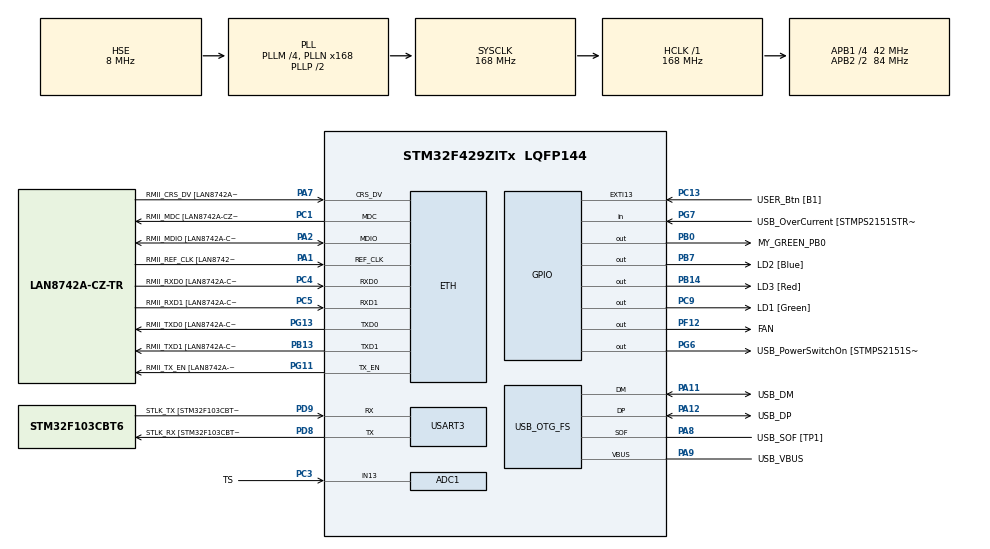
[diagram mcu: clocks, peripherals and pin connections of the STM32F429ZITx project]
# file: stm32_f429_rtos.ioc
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ADC1.Channel-0\#ChannelRegularConversion=ADC_CHANNEL_13
ADC1.NbrOfConversionFlag=1
ADC1.Rank-0\#ChannelRegularConversion=1
ADC1.SamplingTime-0\#ChannelRegularConversion=ADC_SAMPLETIME_3CYCLES
ADC1.master=1
ETH.MediaInterface=ETH_MEDIA_INTERFACE_RMII
ETH.PHY_Name=LAN8742A_PHY_ADDRESS
ETH.PHY_Value=0
ETH.PhyAddress=0
FREERTOS.Tasks01=fanTask,0,19000,fanTaskFunction,Default,NULL,Dynamic,NULL,NULL;tempSensorTask,-3,2500,tempSensorTaskFunction,Default,NULL,Dynamic,NULL,NULL;tempControlTask,-3,2500,tempControlTaskFunction,Default,NULL,Dynamic,NULL,NULL
FREERTOS.configTOTAL_HEAP_SIZE=97000
Mcu.Family=STM32F4
Mcu.Name=STM32F429ZITx
Mcu.Package=LQFP144
NVIC.PriorityGroup=NVIC_PRIORITYGROUP_4
NVIC.TIM1_UP_TIM10_IRQn=true\:0\:0\:false\:false\:true\:false\:false
NVIC.TimeBase=TIM1_UP_TIM10_IRQn
NVIC.TimeBaseIP=TIM1
PA0/WKUP.Mode=SYS_WakeUp0
PA0/WKUP.Signal=SYS_WKUP
PA1.GPIO_Label=RMII_REF_CLK [LAN8742A-CZ-TR_REFCLK0]
PA1.Mode=RMII
PA1.Signal=ETH_REF_CLK
PA10.GPIO_Label=USB_ID
PA10.Signal=USB_OTG_FS_ID
PA11.GPIO_Label=USB_DM
PA11.Mode=Device_Only
PA11.Signal=USB_OTG_FS_DM
PA12.GPIO_Label=USB_DP
PA12.Mode=Device_Only
PA12.Signal=USB_OTG_FS_DP
PA13.GPIO_Label=TMS
PA13.Mode=Serial_Wire
PA13.Signal=SYS_JTMS-SWDIO
PA14.GPIO_Label=TCK
PA14.Mode=Serial_Wire
PA14.Signal=SYS_JTCK-SWCLK
PA2.GPIO_Label=RMII_MDIO [LAN8742A-CZ-TR_MDIO]
PA2.Mode=RMII
PA2.Signal=ETH_MDIO
PA7.GPIO_Label=RMII_CRS_DV [LAN8742A-CZ-TR_CRS_DV]
PA7.Mode=RMII
PA7.Signal=ETH_CRS_DV
PA8.GPIO_Label=USB_SOF [TP1]
PA8.Mode=Activate_SOF_FS
PA8.Signal=USB_OTG_FS_SOF
PA9.GPIO_Label=USB_VBUS
PA9.Mode=Activate_VBUS
PA9.Signal=USB_OTG_FS_VBUS
PB0.GPIO_Label=MY_GREEN_PB0
PB0.Signal=GPIO_Output
PB13.GPIO_Label=RMII_TXD1 [LAN8742A-CZ-TR_TXD1]
PB13.Mode=RMII
PB13.Signal=ETH_TXD1
PB14.GPIO_Label=LD3 [Red]
PB14.Signal=GPIO_Output
PB7.GPIO_Label=LD2 [Blue]
PB7.Signal=GPIO_Output
PC1.GPIO_Label=RMII_MDC [LAN8742A-CZ-TR_MDC]
PC1.Mode=RMII
PC1.Signal=ETH_MDC
PC13.GPIO_Label=USER_Btn [B1]
PC13.Signal=GPXTI13
PC14/OSC32_IN.Mode=LSE-External-Oscillator
PC14/OSC32_IN.Signal=RCC_OSC32_IN
PC15/OSC32_OUT.Mode=LSE-External-Oscillator
PC15/OSC32_OUT.Signal=RCC_OSC32_OUT
PC3.GPIO_Label=TS
PC3.Signal=SharedAnalog_PC3
PC4.GPIO_Label=RMII_RXD0 [LAN8742A-CZ-TR_RXD0]
PC4.Mode=RMII
PC4.Signal=ETH_RXD0
PC5.GPIO_Label=RMII_RXD1 [LAN8742A-CZ-TR_RXD1]
PC5.Mode=RMII
PC5.Signal=ETH_RXD1
PC9.GPIO_Label=LD1 [Green]
PC9.Signal=GPIO_Output
PD8.GPIO_Label=STLK_RX [STM32F103CBT6_PA3]
PD8.Mode=Asynchronous
PD8.Signal=USART3_TX
PD9.GPIO_Label=STLK_TX [STM32F103CBT6_PA2]
PD9.Mode=Asynchronous
PD9.Signal=USART3_RX
PF12.GPIO_Label=FAN
PF12.Signal=GPIO_Output
PG11.GPIO_Label=RMII_TX_EN [LAN8742A-CZ-TR_TXEN]
PG11.Mode=RMII
PG11.Signal=ETH_TX_EN
PG13.GPIO_Label=RMII_TXD0 [LAN8742A-CZ-TR_TXD0]
PG13.Mode=RMII
PG13.Signal=ETH_TXD0
PG6.GPIO_Label=USB_PowerSwitchOn [STMPS2151STR_EN]
PG6.Signal=GPIO_Output
PG7.GPIO_Label=USB_OverCurrent [STMPS2151STR_FAULT]
PG7.Signal=GPIO_Input
PH0/OSC_IN.GPIO_Label=MCO [STM32F103CBT6_PA8]
PH0/OSC_IN.Mode=HSE-External-Clock-Source
PH0/OSC_IN.Signal=RCC_OSC_IN
PH1/OSC_OUT.Mode=HSE-External-Clock-Source
PH1/OSC_OUT.Signal=RCC_OSC_OUT
ProjectManager.HeapSize=0x200
ProjectManager.StackSize=0x400
ProjectManager.TargetToolchain=SW4STM32
RCC.48MHZClocksFreq_Value=48000000
RCC.AHBFreq_Value=168000000
RCC.APB1CLKDivider=RCC_HCLK_DIV4
RCC.APB1Freq_Value=42000000
RCC.APB1TimFreq_Value=84000000
RCC.APB2CLKDivider=RCC_HCLK_DIV2
RCC.APB2Freq_Value=84000000
RCC.APB2TimCLKDivider=2
RCC.APB2TimFreq_Value=168000000
RCC.CortexFreq_Value=168000000
RCC.HCLKFreq_Value=168000000
RCC.HSE_VALUE=8000000
RCC.HSI_VALUE=16000000
RCC.PLLM=4
RCC.PLLMUL=RCC_PLL_MUL9
RCC.PLLN=168
RCC.PLLQ=7
RCC.PRESCALERUSB=RCC_USBCLKSOURCE_PLL_DIV1_5
RCC.SYSCLKFreq_VALUE=168000000
RCC.SYSCLKSource=RCC_SYSCLKSOURCE_PLLCLK
RCC.SYSCLKSourceVirtual=RCC_SYSCLKSOURCE_PLLCLK
RCC.USBFreq_Value=48000000
RCC.VCOOutputFreq_Value=336000000
SH.SharedAnalog_PC3.0=GPIO_Analog
SH.SharedAnalog_PC3.1=ADC1_IN13,IN13
USART3.VirtualMode=VM_ASYNC
USB_OTG_FS.VirtualMode=Device_Only
VP_FREERTOS_VS_ENABLE.Mode=Enabled
VP_SYS_VS_tim1.Mode=TIM1
board=NUCLEO-F429ZI

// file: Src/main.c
/* USER CODE BEGIN Header */
/**
  ******************************************************************************
  * @file           : main.c
  * @brief          : Main program body
  ******************************************************************************
  * This notice applies to any and all portions of this file
  * that are not between comment pairs USER CODE BEGIN and
  * USER CODE END. Other portions of this file, whether
  * inserted by the user or by software development tools
  * are owned by their respective copyright owners.
  *
  * Copyright (c) 2019 STMicroelectronics International N.V.
  * All rights reserved.
  *
  * Redistribution and use in source and binary forms, with or without
  * modification, are permitted, provided that the following conditions are met:
  *
  * 1. Redistribution of source code must retain the above copyright notice,
  *    this list of conditions and the following disclaimer.
  * 2. Redistributions in binary form must reproduce the above copyright notice,
  *    this list of conditions and the following disclaimer in the documentation
  *    and/or other materials provided with the distribution.
  * 3. Neither the name of STMicroelectronics nor the names of other
  *    contributors to this software may be used to endorse or promote products
  *    derived from this software without specific written permission.
  * 4. This software, including modifications and/or derivative works of this
  *    software, must execute solely and exclusively on microcontroller or
  *    microprocessor devices manufactured by or for STMicroelectronics.
  * 5. Redistribution and use of this software other than as permitted under
  *    this license is void and will automatically terminate your rights under
  *    this license.
  *
  * THIS SOFTWARE IS PROVIDED BY STMICROELECTRONICS AND CONTRIBUTORS "AS IS"
  * AND ANY EXPRESS, IMPLIED OR STATUTORY WARRANTIES, INCLUDING, BUT NOT
  * LIMITED TO, THE IMPLIED WARRANTIES OF MERCHANTABILITY, FITNESS FOR A
  * PARTICULAR PURPOSE AND NON-INFRINGEMENT OF THIRD PARTY INTELLECTUAL PROPERTY
  * RIGHTS ARE DISCLAIMED TO THE FULLEST EXTENT PERMITTED BY LAW. IN NO EVENT
  * SHALL STMICROELECTRONICS OR CONTRIBUTORS BE LIABLE FOR ANY DIRECT, INDIRECT,
  * INCIDENTAL, SPECIAL, EXEMPLARY, OR CONSEQUENTIAL DAMAGES (INCLUDING, BUT NOT
  * LIMITED TO, PROCUREMENT OF SUBSTITUTE GOODS OR SERVICES; LOSS OF USE, DATA,
  * OR PROFITS; OR BUSINESS INTERRUPTION) HOWEVER CAUSED AND ON ANY THEORY OF
  * LIABILITY, WHETHER IN CONTRACT, STRICT LIABILITY, OR TORT (INCLUDING
  * NEGLIGENCE OR OTHERWISE) ARISING IN ANY WAY OUT OF THE USE OF THIS SOFTWARE,
  * EVEN IF ADVISED OF THE POSSIBILITY OF SUCH DAMAGE.
  *
  ******************************************************************************
  */
/* USER CODE END Header */

#include "main.h"
#include "cmsis_os.h"

/* USER CODE BEGIN Includes */
#include <all.h>
/* USER CODE END Includes */

ADC_HandleTypeDef hadc1;

ETH_HandleTypeDef heth;

UART_HandleTypeDef huart3;

PCD_HandleTypeDef hpcd_USB_OTG_FS;

osThreadId fanTaskHandle;
osThreadId tempSensorTaskHandle;
osThreadId tempControlTaskHandle;

void SystemClock_Config(void);
static void MX_GPIO_Init(void);
static void MX_ETH_Init(void);
static void MX_USART3_UART_Init(void);
static void MX_USB_OTG_FS_PCD_Init(void);
static void MX_ADC1_Init(void);
void fanTaskFunction(void const * argument);
void tempSensorTaskFunction(void const * argument);
void tempControlTaskFunction(void const * argument);

/* USER CODE BEGIN 0 */

#define LOW_TEMP  60
#define HIGH_TEMP 100

int map(int  ymin, int ymax, int x) {
    if(ymin < ymax) {
        float ynormMax = ymax - ymin ;
        float y = (ynormMax / 4095.00) * ((float) x);
        return y + ymin;
    } else {
        return -1;
    }
}

void fanLED(int turnOn) {
  HAL_GPIO_WritePin(FAN_GPIO_Port, FAN_Pin, turnOn == 0 ? GPIO_PIN_RESET : GPIO_PIN_SET);
}

uint32_t pollPotentiometer() {
    uint32_t sum = 0;
    for(int i = 0; i < 100; i++) {
        if (HAL_ADC_PollForConversion(&hadc1, 100) == HAL_OK) {
            sum = sum + HAL_ADC_GetValue(&hadc1);
        }
        HAL_ADC_Start(&hadc1);
    }
    uint32_t ts_val = map(LOW_TEMP, HIGH_TEMP, (sum / 100.00));

    return ts_val;
}

#define LED_DELAY 400

// cubemx has incorrect mapping for green led
//#define GREEN_LED_PIN LD1_Pin
//#define GREEN_BANK    LD1_GPIO_Port
#define GREEN_LED_PIN MY_GREEN_PB0_Pin
#define GREEN_BANK    MY_GREEN_PB0_GPIO_Port

#define BLUE_LED_PIN LD2_Pin
#define BLUE_BANK    LD2_GPIO_Port

#define RED_LED_PIN LD3_Pin
#define RED_BANK    LD3_GPIO_Port

void blink(GPIO_TypeDef * bank, uint16_t pin, int16_t count, int16_t delay){
    for(int16_t i = 0; i < count; i++) {
        HAL_GPIO_WritePin(bank, pin, GPIO_PIN_SET);
        HAL_Delay(delay);
        HAL_GPIO_WritePin(bank, pin, GPIO_PIN_RESET);
        HAL_Delay(delay);
    }
}

void blinkOnGreenDelay(int16_t count, int16_t delay) { blink(GREEN_BANK, GREEN_LED_PIN, count, delay); }
void blinkOnGreen(int16_t count) { blinkOnGreenDelay(count, LED_DELAY); }

void blinkOnRedDelay(int16_t count, int16_t delay) { blink(RED_BANK, RED_LED_PIN, count, delay); }
void blinkOnRed(int16_t count) { blinkOnRedDelay(count, LED_DELAY); }

void blinkOnBlueDelay(int16_t count, int16_t delay) { blink(BLUE_BANK, BLUE_LED_PIN, count, delay); }
void blinkOnBlue(int16_t count) { blinkOnBlueDelay(count, LED_DELAY); }

StackFrame sf;
int seed = 1;

/* USER CODE END 0 */

int main(void)
{

  /* MCU Configuration--------------------------------------------------------*/

  /* Reset of all peripherals, Initializes the Flash interface and the Systick. */
  HAL_Init();

  /* Configure the system clock */
  SystemClock_Config();

  /* Initialize all configured peripherals */
  MX_GPIO_Init();
  MX_ETH_Init();
  MX_USART3_UART_Init();
  MX_USB_OTG_FS_PCD_Init();
  MX_ADC1_Init();

  /* Create the thread(s) */
  /* definition and creation of fanTask */
  osThreadDef(fanTask, fanTaskFunction, osPriorityNormal, 0, 19000);
  fanTaskHandle = osThreadCreate(osThread(fanTask), NULL);

  /* definition and creation of tempSensorTask */
  osThreadDef(tempSensorTask, tempSensorTaskFunction, osPriorityIdle, 0, 2500);
  tempSensorTaskHandle = osThreadCreate(osThread(tempSensorTask), NULL);

  /* definition and creation of tempControlTask */
  osThreadDef(tempControlTask, tempControlTaskFunction, osPriorityIdle, 0, 2500);
  tempControlTaskHandle = osThreadCreate(osThread(tempControlTask), NULL);

  /* USER CODE BEGIN RTOS_THREADS */
  /* add threads, ... */

  if(fanTaskHandle == NULL || tempSensorTaskHandle == NULL || tempControlTaskHandle == NULL){
    blinkOnRedDelay(10,50);
    exit(-1);
  }

  /* USER CODE END RTOS_THREADS */

  /* Start scheduler */
  osKernelStart();

  /* We should never get here as control is now taken by the scheduler */

  /* Infinite loop */
  while (1)
  {

  }
}

void SystemClock_Config(void)
{
  RCC_OscInitTypeDef RCC_OscInitStruct = {0};
  RCC_ClkInitTypeDef RCC_ClkInitStruct = {0};

  /**Configure the main internal regulator output voltage
  */
  __HAL_RCC_PWR_CLK_ENABLE();
  __HAL_PWR_VOLTAGESCALING_CONFIG(PWR_REGULATOR_VOLTAGE_SCALE1);
  /**Initializes the CPU, AHB and APB busses clocks
  */
  RCC_OscInitStruct.OscillatorType = RCC_OSCILLATORTYPE_HSE;
  RCC_OscInitStruct.HSEState = RCC_HSE_BYPASS;
  RCC_OscInitStruct.PLL.PLLState = RCC_PLL_ON;
  RCC_OscInitStruct.PLL.PLLSource = RCC_PLLSOURCE_HSE;
  RCC_OscInitStruct.PLL.PLLM = 4;
  RCC_OscInitStruct.PLL.PLLN = 168;
  RCC_OscInitStruct.PLL.PLLP = RCC_PLLP_DIV2;
  RCC_OscInitStruct.PLL.PLLQ = 7;
  if (HAL_RCC_OscConfig(&RCC_OscInitStruct) != HAL_OK)
  {
    Error_Handler();
  }
  /**Initializes the CPU, AHB and APB busses clocks
  */
  RCC_ClkInitStruct.ClockType = RCC_CLOCKTYPE_HCLK|RCC_CLOCKTYPE_SYSCLK
                              |RCC_CLOCKTYPE_PCLK1|RCC_CLOCKTYPE_PCLK2;
  RCC_ClkInitStruct.SYSCLKSource = RCC_SYSCLKSOURCE_PLLCLK;
  RCC_ClkInitStruct.AHBCLKDivider = RCC_SYSCLK_DIV1;
  RCC_ClkInitStruct.APB1CLKDivider = RCC_HCLK_DIV4;
  RCC_ClkInitStruct.APB2CLKDivider = RCC_HCLK_DIV2;

  if (HAL_RCC_ClockConfig(&RCC_ClkInitStruct, FLASH_LATENCY_5) != HAL_OK)
  {
    Error_Handler();
  }
}

static void MX_ADC1_Init(void)
{

  ADC_ChannelConfTypeDef sConfig = {0};

  /**Configure the global features of the ADC (Clock, Resolution, Data Alignment and number of conversion)
  */
  hadc1.Instance = ADC1;
  hadc1.Init.ClockPrescaler = ADC_CLOCK_SYNC_PCLK_DIV4;
  hadc1.Init.Resolution = ADC_RESOLUTION_12B;
  hadc1.Init.ScanConvMode = DISABLE;
  hadc1.Init.ContinuousConvMode = DISABLE;
  hadc1.Init.DiscontinuousConvMode = DISABLE;
  hadc1.Init.ExternalTrigConvEdge = ADC_EXTERNALTRIGCONVEDGE_NONE;
  hadc1.Init.ExternalTrigConv = ADC_SOFTWARE_START;
  hadc1.Init.DataAlign = ADC_DATAALIGN_RIGHT;
  hadc1.Init.NbrOfConversion = 1;
  hadc1.Init.DMAContinuousRequests = DISABLE;
  hadc1.Init.EOCSelection = ADC_EOC_SINGLE_CONV;
  if (HAL_ADC_Init(&hadc1) != HAL_OK)
  {
    Error_Handler();
  }
  /**Configure for the selected ADC regular channel its corresponding rank in the sequencer and its sample time.
  */
  sConfig.Channel = ADC_CHANNEL_13;
  sConfig.Rank = 1;
  sConfig.SamplingTime = ADC_SAMPLETIME_3CYCLES;
  if (HAL_ADC_ConfigChannel(&hadc1, &sConfig) != HAL_OK)
  {
    Error_Handler();
  }

}

static void MX_ETH_Init(void)
{

   uint8_t MACAddr[6] ;

  heth.Instance = ETH;
  heth.Init.AutoNegotiation = ETH_AUTONEGOTIATION_ENABLE;
  heth.Init.PhyAddress = LAN8742A_PHY_ADDRESS;
  MACAddr[0] = 0x00;
  MACAddr[1] = 0x80;
  MACAddr[2] = 0xE1;
  MACAddr[3] = 0x00;
  MACAddr[4] = 0x00;
  MACAddr[5] = 0x00;
  heth.Init.MACAddr = &MACAddr[0];
  heth.Init.RxMode = ETH_RXPOLLING_MODE;
  heth.Init.ChecksumMode = ETH_CHECKSUM_BY_HARDWARE;
  heth.Init.MediaInterface = ETH_MEDIA_INTERFACE_RMII;

  if (HAL_ETH_Init(&heth) != HAL_OK)
  {
    Error_Handler();
  }

}

static void MX_USART3_UART_Init(void)
{

  huart3.Instance = USART3;
  huart3.Init.BaudRate = 115200;
  huart3.Init.WordLength = UART_WORDLENGTH_8B;
  huart3.Init.StopBits = UART_STOPBITS_1;
  huart3.Init.Parity = UART_PARITY_NONE;
  huart3.Init.Mode = UART_MODE_TX_RX;
  huart3.Init.HwFlowCtl = UART_HWCONTROL_NONE;
  huart3.Init.OverSampling = UART_OVERSAMPLING_16;
  if (HAL_UART_Init(&huart3) != HAL_OK)
  {
    Error_Handler();
  }

}

static void MX_USB_OTG_FS_PCD_Init(void)
{

  hpcd_USB_OTG_FS.Instance = USB_OTG_FS;
  hpcd_USB_OTG_FS.Init.dev_endpoints = 4;
  hpcd_USB_OTG_FS.Init.speed = PCD_SPEED_FULL;
  hpcd_USB_OTG_FS.Init.dma_enable = DISABLE;
  hpcd_USB_OTG_FS.Init.ep0_mps = DEP0CTL_MPS_64;
  hpcd_USB_OTG_FS.Init.phy_itface = PCD_PHY_EMBEDDED;
  hpcd_USB_OTG_FS.Init.Sof_enable = ENABLE;
  hpcd_USB_OTG_FS.Init.low_power_enable = DISABLE;
  hpcd_USB_OTG_FS.Init.lpm_enable = DISABLE;
  hpcd_USB_OTG_FS.Init.vbus_sensing_enable = ENABLE;
  hpcd_USB_OTG_FS.Init.use_dedicated_ep1 = DISABLE;
  if (HAL_PCD_Init(&hpcd_USB_OTG_FS) != HAL_OK)
  {
    Error_Handler();
  }

}

static void MX_GPIO_Init(void)
{
  GPIO_InitTypeDef GPIO_InitStruct = {0};

  /* GPIO Ports Clock Enable */
  __HAL_RCC_GPIOC_CLK_ENABLE();
  __HAL_RCC_GPIOH_CLK_ENABLE();
  __HAL_RCC_GPIOA_CLK_ENABLE();
  __HAL_RCC_GPIOB_CLK_ENABLE();
  __HAL_RCC_GPIOF_CLK_ENABLE();
  __HAL_RCC_GPIOD_CLK_ENABLE();
  __HAL_RCC_GPIOG_CLK_ENABLE();

  /*Configure GPIO pin Output Level */
  HAL_GPIO_WritePin(GPIOB, MY_GREEN_PB0_Pin|LD3_Pin|LD2_Pin, GPIO_PIN_RESET);

  /*Configure GPIO pin Output Level */
  HAL_GPIO_WritePin(FAN_GPIO_Port, FAN_Pin, GPIO_PIN_RESET);

  /*Configure GPIO pin Output Level */
  HAL_GPIO_WritePin(USB_PowerSwitchOn_GPIO_Port, USB_PowerSwitchOn_Pin, GPIO_PIN_RESET);

  /*Configure GPIO pin Output Level */
  HAL_GPIO_WritePin(LD1_GPIO_Port, LD1_Pin, GPIO_PIN_RESET);

  /*Configure GPIO pin : USER_Btn_Pin */
  GPIO_InitStruct.Pin = USER_Btn_Pin;
  GPIO_InitStruct.Mode = GPIO_MODE_IT_RISING;
  GPIO_InitStruct.Pull = GPIO_NOPULL;
  HAL_GPIO_Init(USER_Btn_GPIO_Port, &GPIO_InitStruct);

  /*Configure GPIO pin : TS_Pin */
  GPIO_InitStruct.Pin = TS_Pin;
  GPIO_InitStruct.Mode = GPIO_MODE_ANALOG;
  GPIO_InitStruct.Pull = GPIO_NOPULL;
  HAL_GPIO_Init(TS_GPIO_Port, &GPIO_InitStruct);

  /*Configure GPIO pins : MY_GREEN_PB0_Pin LD3_Pin LD2_Pin */
  GPIO_InitStruct.Pin = MY_GREEN_PB0_Pin|LD3_Pin|LD2_Pin;
  GPIO_InitStruct.Mode = GPIO_MODE_OUTPUT_PP;
  GPIO_InitStruct.Pull = GPIO_NOPULL;
  GPIO_InitStruct.Speed = GPIO_SPEED_FREQ_LOW;
  HAL_GPIO_Init(GPIOB, &GPIO_InitStruct);

  /*Configure GPIO pin : FAN_Pin */
  GPIO_InitStruct.Pin = FAN_Pin;
  GPIO_InitStruct.Mode = GPIO_MODE_OUTPUT_PP;
  GPIO_InitStruct.Pull = GPIO_NOPULL;
  GPIO_InitStruct.Speed = GPIO_SPEED_FREQ_LOW;
  HAL_GPIO_Init(FAN_GPIO_Port, &GPIO_InitStruct);

  /*Configure GPIO pin : USB_PowerSwitchOn_Pin */
  GPIO_InitStruct.Pin = USB_PowerSwitchOn_Pin;
  GPIO_InitStruct.Mode = GPIO_MODE_OUTPUT_PP;
  GPIO_InitStruct.Pull = GPIO_NOPULL;
  GPIO_InitStruct.Speed = GPIO_SPEED_FREQ_LOW;
  HAL_GPIO_Init(USB_PowerSwitchOn_GPIO_Port, &GPIO_InitStruct);

  /*Configure GPIO pin : USB_OverCurrent_Pin */
  GPIO_InitStruct.Pin = USB_OverCurrent_Pin;
  GPIO_InitStruct.Mode = GPIO_MODE_INPUT;
  GPIO_InitStruct.Pull = GPIO_NOPULL;
  HAL_GPIO_Init(USB_OverCurrent_GPIO_Port, &GPIO_InitStruct);

  /*Configure GPIO pin : LD1_Pin */
  GPIO_InitStruct.Pin = LD1_Pin;
  GPIO_InitStruct.Mode = GPIO_MODE_OUTPUT_PP;
  GPIO_InitStruct.Pull = GPIO_NOPULL;
  GPIO_InitStruct.Speed = GPIO_SPEED_FREQ_LOW;
  HAL_GPIO_Init(LD1_GPIO_Port, &GPIO_InitStruct);

}

void fanTaskFunction(void const * argument)
{

  /* USER CODE BEGIN 5 */

  // init fan
  building_control_Fan_i_App_initialize(SF seed);

  // init temp sensor
  building_control_TempControl_i_App_initialize(SF seed);

  // init temp control
  building_control_TempSensor_i_App_initialize(SF seed);

  blinkOnRedDelay(5, 100);

  // call fan's initialize entrypoint
  art_Bridge_EntryPoints_initialise_(SF building_control_Fan_i_App_entryPoints(SF));

  /* Infinite loop */
  for(;;)
  {
    building_control_Fan_i_App_compute(SF);

    osDelay(100);
  }
  /* USER CODE END 5 */
}

void tempSensorTaskFunction(void const * argument)
{
  /* USER CODE BEGIN tempSensorTaskFunction */

  // call temp sensor's initialize entrypoint
  art_Bridge_EntryPoints_initialise_(SF building_control_TempSensor_i_App_entryPoints(SF));

  blinkOnBlueDelay(5, 100);

  /* Infinite loop */
  for(;;)
  {
    building_control_TempSensor_i_App_compute(SF);

    osDelay(100);
  }
  /* USER CODE END tempSensorTaskFunction */
}

void tempControlTaskFunction(void const * argument)
{
  /* USER CODE BEGIN tempControlTaskFunction */

  // call temp control's initialize entrypoint
  art_Bridge_EntryPoints_initialise_(SF building_control_TempControl_i_App_entryPoints(SF));

  blinkOnGreenDelay(5, 100);

  /* Infinite loop */
  for(;;)
  {
    building_control_TempControl_i_App_compute(SF);

    osDelay(1);
  }
  /* USER CODE END tempControlTaskFunction */
}

void HAL_TIM_PeriodElapsedCallback(TIM_HandleTypeDef *htim)
{
  if (htim->Instance == TIM1) {
    HAL_IncTick();
  }
}

void Error_Handler(void)
{
}

/************************ (C) COPYRIGHT STMicroelectronics *****END OF FILE****/
